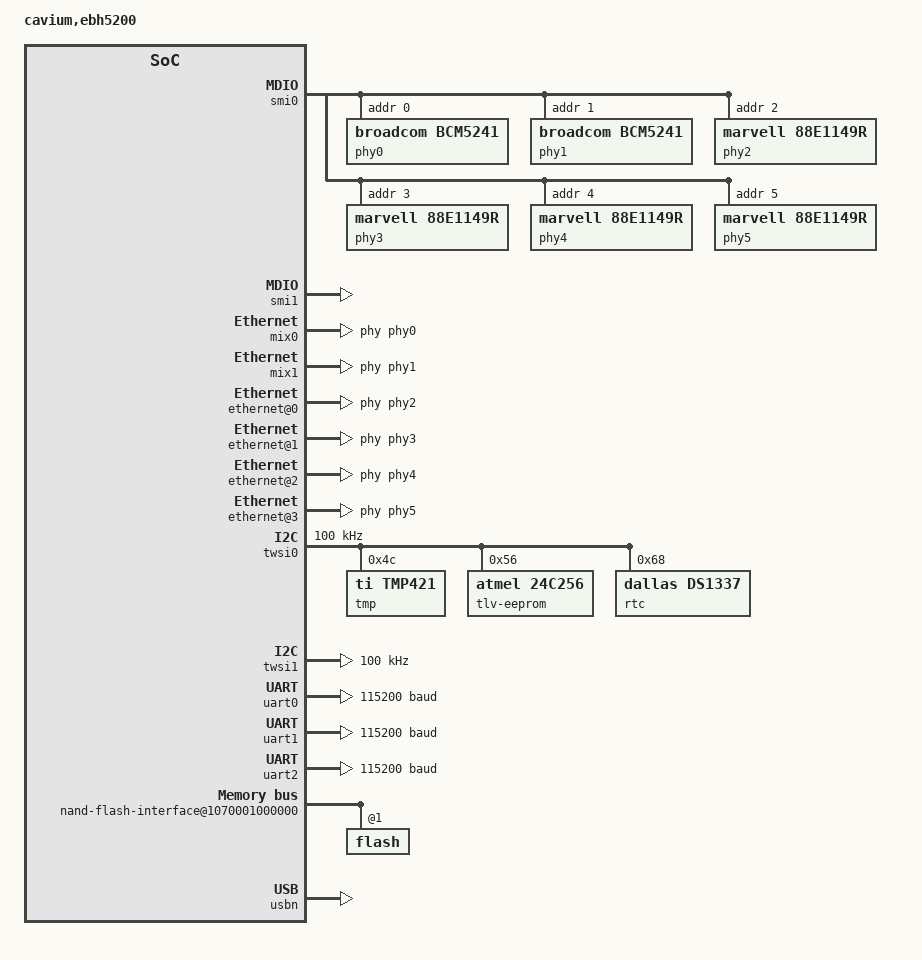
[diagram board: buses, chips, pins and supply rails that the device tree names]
/dts-v1/;
/*
 * Cavium Inc. EBH5200 board
 */
/ {
	model = "cavium,ebh5200";
	compatible = "cavium,ebh5200";
	#address-cells = <2>;
	#size-cells = <2>;
	interrupt-parent = <&ciu>;

	soc@0 {
		compatible = "simple-bus";
		#address-cells = <2>;
		#size-cells = <2>;
		ranges; /* Direct mapping */

		ciu: interrupt-controller@1070000000000 {
			compatible = "cavium,octeon-3860-ciu";
			interrupt-controller;
			/* Interrupts are specified by two parts:
			 * 1) Controller register (0 or 1)
			 * 2) Bit within the register (0..63)
			 */
			#interrupt-cells = <2>;
			reg = <0x10700 0x00000000 0x0 0x7000>;
		};

		gpio: gpio-controller@1070000000800 {
			#gpio-cells = <2>;
			compatible = "cavium,octeon-3860-gpio";
			reg = <0x10700 0x00000800 0x0 0x100>;
			gpio-controller;
			/* Interrupts are specified by two parts:
			 * 1) GPIO pin number (0..15)
			 * 2) Triggering (1 - edge rising
			 *		  2 - edge falling
			 *		  4 - level active high
			 *		  8 - level active low)
			 */
			interrupt-controller;
			#interrupt-cells = <2>;
			/* The GPIO pins connect to 16 consecutive CUI bits */
			interrupts = <0 16>; /* <0 17> <0 18> <0 19>
				     <0 20> <0 21> <0 22> <0 23>
				     <0 24> <0 25> <0 26> <0 27>
				     <0 28> <0 29> <0 30> <0 31>; */
		};

		smi0: mdio@1180000001800 {
			compatible = "cavium,octeon-3860-mdio";
			#address-cells = <1>;
			#size-cells = <0>;
			reg = <0x11800 0x00001800 0x0 0x40>;

			phy0: ethernet-phy@0 {
				compatible = "broadcom,bcm5241";
				reg = <0>;
			};

			phy1: ethernet-phy@1 {
				compatible = "broadcom,bcm5241";
				reg = <1>;
			};

			phy2: ethernet-phy@2 {
				reg = <2>;
				compatible = "marvell,88e1149r";
				marvell,reg-init = <3 0x10 0 0x5777>,
					<3 0x11 0 0x00aa>,
					<3 0x12 0 0x4105>,
					<3 0x13 0 0x0a60>;
			};
			phy3: ethernet-phy@3 {
				reg = <3>;
				compatible = "marvell,88e1149r";
				marvell,reg-init = <3 0x10 0 0x5777>,
					<3 0x11 0 0x00aa>,
					<3 0x12 0 0x4105>,
					<3 0x13 0 0x0a60>;
			};
			phy4: ethernet-phy@4 {
				reg = <4>;
				compatible = "marvell,88e1149r";
				marvell,reg-init = <3 0x10 0 0x5777>,
					<3 0x11 0 0x00aa>,
					<3 0x12 0 0x4105>,
					<3 0x13 0 0x0a60>;
			};
			phy5: ethernet-phy@5 {
				reg = <5>;
				compatible = "marvell,88e1149r";
				marvell,reg-init = <3 0x10 0 0x5777>,
					<3 0x11 0 0x00aa>,
					<3 0x12 0 0x4105>,
					<3 0x13 0 0x0a60>;
			};
		};

		smi1: mdio@1180000001900 {
			compatible = "cavium,octeon-3860-mdio";
			#address-cells = <1>;
			#size-cells = <0>;
			reg = <0x11800 0x00001900 0x0 0x40>;
		};

		mix0: ethernet@1070000100000 {
			compatible = "cavium,octeon-5750-mix";
			reg = <0x10700 0x00100000 0x0 0x100>, /* MIX */
			      <0x11800 0xE0000000 0x0 0x300>, /* AGL */
			      <0x11800 0xE0000400 0x0 0x400>, /* AGL_SHARED  */
			      <0x11800 0xE0002000 0x0 0x8>;   /* AGL_PRT_CTL */
			cell-index = <0>;
			interrupts = <0 62>, <1 46>;
			local-mac-address = [ 00 00 00 00 00 00 ];
			phy-handle = <&phy0>;
		};

		mix1: ethernet@1070000100800 {
			compatible = "cavium,octeon-5750-mix";
			reg = <0x10700 0x00100800 0x0 0x100>, /* MIX */
			      <0x11800 0xE0000800 0x0 0x300>, /* AGL */
			      <0x11800 0xE0000400 0x0 0x400>, /* AGL_SHARED  */
			      <0x11800 0xE0002008 0x0 0x8>;   /* AGL_PRT_CTL */
			cell-index = <1>;
			interrupts = <1 18>, <1 46>;
			local-mac-address = [ 00 00 00 00 00 00 ];
			phy-handle = <&phy1>;
		};

		pip: pip@11800a0000000 {
			compatible = "cavium,octeon-3860-pip";
			#address-cells = <1>;
			#size-cells = <0>;
			reg = <0x11800 0xa0000000 0x0 0x2000>;

			interface@0 {
				compatible = "cavium,octeon-3860-pip-interface";
				#address-cells = <1>;
				#size-cells = <0>;
				reg = <0>; /* interface */

				ethernet@0 {
					compatible = "cavium,octeon-3860-pip-port";
					reg = <0x0>; /* Port */
					local-mac-address = [ 00 00 00 00 00 00 ];
					phy-handle = <&phy2>;
				};
				ethernet@1 {
					compatible = "cavium,octeon-3860-pip-port";
					reg = <0x1>; /* Port */
					local-mac-address = [ 00 00 00 00 00 00 ];
					phy-handle = <&phy3>;
				};
				ethernet@2 {
					compatible = "cavium,octeon-3860-pip-port";
					reg = <0x2>; /* Port */
					local-mac-address = [ 00 00 00 00 00 00 ];
					phy-handle = <&phy4>;
				};
				ethernet@3 {
					compatible = "cavium,octeon-3860-pip-port";
					reg = <0x3>; /* Port */
					local-mac-address = [ 00 00 00 00 00 00 ];
					phy-handle = <&phy5>;
				};
			};
		};

		twsi0: i2c@1180000001000 {
			#address-cells = <1>;
			#size-cells = <0>;
			compatible = "cavium,octeon-3860-twsi";
			reg = <0x11800 0x00001000 0x0 0x200>;
			interrupts = <0 45>;
			clock-frequency = <100000>;

			tmp@4c {
				compatible = "ti,tmp421";
				reg = <0x4c>;
			};
			tlv-eeprom@56 {
				compatible = "atmel,24c256","microchip,24lc256";
				reg = <0x56>;
				pagesize = <64>;
			};
			rtc@68 {
				compatible = "dallas,ds1337";
				reg = <0x68>;
			};
		};

		twsi1: i2c@1180000001200 {
			#address-cells = <1>;
			#size-cells = <0>;
			compatible = "cavium,octeon-3860-twsi";
			reg = <0x11800 0x00001200 0x0 0x200>;
			interrupts = <0 59>;
			clock-frequency = <100000>;
		};

		uart0: serial@1180000000800 {
			compatible = "cavium,octeon-3860-uart","ns16550";
			reg = <0x11800 0x00000800 0x0 0x400>;
			clock-frequency = <0>;
			current-speed = <115200>;
			reg-shift = <3>;
			interrupts = <0 34>;
		};

		uart1: serial@1180000000c00 {
			compatible = "cavium,octeon-3860-uart","ns16550";
			reg = <0x11800 0x00000c00 0x0 0x400>;
			clock-frequency = <0>;
			current-speed = <115200>;
			reg-shift = <3>;
			interrupts = <0 35>;
		};

		uart2: serial@1180000000400 {
			compatible = "cavium,octeon-3860-uart","ns16550";
			reg = <0x11800 0x00000400 0x0 0x400>;
			clock-frequency = <0>;
			current-speed = <115200>;
			reg-shift = <3>;
			interrupts = <1 16>;
		};

		bootbus: bootbus@1180000000000 {
			compatible = "cavium,octeon-3860-bootbus";
			reg = <0x11800 0x00000000 0x0 0x200>;
			/* The chip select number and offset */
			#address-cells = <2>;
			/* The size of the chip select region */
			#size-cells = <1>;
			ranges = <0 0  0x0     0x1f400000  0x00c00000>,
				 <1 0  0x10000 0x30000000  0>,
				 <2 0  0x10000 0x40000000  0>,
				 <3 0  0x10000 0x50000000  0>,
				 <4 0  0x0     0x1d020000  0x00010000>,
				 <5 0  0x0     0x1d040000  0x00010000>,
				 <6 0  0x0     0x1d050000  0x00010000>,
				 <7 0  0x0     0x1d030000  0x00010000>;

			cavium,cs-config@0 {
				compatible = "cavium,octeon-3860-bootbus-config";
				cavium,cs-index = <0>;
				cavium,t-adr  = <10>;
				cavium,t-ce   = <50>;
				cavium,t-oe   = <50>;
				cavium,t-we   = <35>;
				cavium,t-rd-hld = <25>;
				cavium,t-wr-hld = <35>;
				cavium,t-pause  = <0>;
				cavium,t-wait   = <300>;
				cavium,t-page   = <25>;
				cavium,t-rd-dly = <0>;

				cavium,pages     = <0>;
				cavium,bus-width = <8>;
			};
			cavium,cs-config@4 {
				compatible = "cavium,octeon-3860-bootbus-config";
				cavium,cs-index = <4>;
				cavium,t-adr  = <300>;
				cavium,t-ce   = <300>;
				cavium,t-oe   = <300>;
				cavium,t-we   = <300>;
				cavium,t-rd-hld = <300>;
				cavium,t-wr-hld = <300>;
				cavium,t-pause  = <300>;
				cavium,t-wait   = <300>;
				cavium,t-page   = <300>;
				cavium,t-rd-dly = <0>;

				cavium,pages     = <0>;
				cavium,bus-width = <8>;
			};
			cavium,cs-config@5 {
				compatible = "cavium,octeon-3860-bootbus-config";
				cavium,cs-index = <5>;
				cavium,t-adr  = <0>;
				cavium,t-ce   = <300>;
				cavium,t-oe   = <125>;
				cavium,t-we   = <150>;
				cavium,t-rd-hld = <100>;
				cavium,t-wr-hld = <300>;
				cavium,t-pause  = <0>;
				cavium,t-wait   = <300>;
				cavium,t-page   = <300>;
				cavium,t-rd-dly = <0>;

				cavium,pages     = <0>;
				cavium,bus-width = <16>;
			};
			cavium,cs-config@6 {
				compatible = "cavium,octeon-3860-bootbus-config";
				cavium,cs-index = <6>;
				cavium,t-adr  = <0>;
				cavium,t-ce   = <30>;
				cavium,t-oe   = <125>;
				cavium,t-we   = <150>;
				cavium,t-rd-hld = <100>;
				cavium,t-wr-hld = <30>;
				cavium,t-pause  = <0>;
				cavium,t-wait   = <30>;
				cavium,t-page   = <300>;
				cavium,t-rd-dly = <0>;

				cavium,pages     = <0>;
				cavium,wait-mode;
				cavium,bus-width = <16>;
			};
			cavium,cs-config@7 {
				compatible = "cavium,octeon-3860-bootbus-config";
				cavium,cs-index = <7>;
				cavium,t-adr  = <300>;
				cavium,t-ce   = <300>;
				cavium,t-oe   = <300>;
				cavium,t-we   = <300>;
				cavium,t-rd-hld = <300>;
				cavium,t-wr-hld = <300>;
				cavium,t-pause  = <300>;
				cavium,t-wait   = <300>;
				cavium,t-page   = <300>;
				cavium,t-rd-dly = <0>;

				cavium,pages     = <0>;
				cavium,bus-width = <8>;
			};

			flash0: nor@0,0 {
				compatible = "cfi-flash";
				reg = <0 0 0x800000>;
				#address-cells = <1>;
				#size-cells = <1>;

				partition@0 {
					label = "bootloader";
					reg = <0x0 0x200000>;
					read-only;
				};
				partition@200000 {
					label = "kernel";
					reg = <0x200000 0x200000>;
				};
				partition@400000 {
					label = "cramfs";
					reg = <0x400000 0x3e0000>;
				};
				partition@7e0000 {
					label = "environment";
					reg = <0x7e0000 0x20000>;
					read-only;
				};
			};

			led-display@4,0 {
				compatible = "avago,hdsp-253x";
				reg = <4 0x20 0x20>, <4 0 0x20>;
			};

			compact-flash@5,0 {
				compatible = "cavium,ebt3000-compact-flash";
				reg = <5 0 0x10000>, <6 0 0x10000>;
				cavium,bus-width = <16>;
				cavium,true-ide;
				cavium,dma-engine-handle = <&dma0>;
			};

			pal@7,0 {
				compatible = "cavium,ebt3000-pal", "cavium,ebh5200-pal";
				reg = <7 0x20 0x20>, <7 0 0x20>;
			};
		};
		dma0: dma-engine@1180000000100 {
			compatible = "cavium,octeon-5750-bootbus-dma";
			reg = <0x11800 0x00000100 0x0 0x8>;
			interrupts = <0 63>;
		};
		dma1: dma-engine@1180000000108 {
			compatible = "cavium,octeon-5750-bootbus-dma";
			reg = <0x11800 0x00000108 0x0 0x8>;
			interrupts = <0 63>;
		};
		nand-flash-interface@1070001000000 {
			compatible = "cavium,octeon-5230-nand";
			reg = <0x10700 0x01000000 0 0x100>,
				<0x11800 0x00000168 0x0 0x20>;
			#address-cells = <1>;
			#size-cells = <0>;
			interrupts = <0 63>;
			flash@1 {
				compatibe = "nand-flash";
				reg = <1>;

				/* soft is used to support single bit ECC */
				nand-ecc-mode = "soft";

				/* Number of bytes of data to perform ECC over */
				nand-ecc-size = <512>;

				/* nand-ecc-size and nand-ecc-bytes are
				 * calculated based on the error management
				 * requirements of the NAND device.
				 *
				 * For example, if a device says it requires
				 * 12 bits of ECC per 540 bytes then
				 * nand-ecc-size would be set to 512.
				 *
				 * nand-ecc-bytes is calculated based on the
				 * requirements for the Galios field order.
				 * There are two variables involved, m and t.
				 *
				 * m must be chosen such that:
				 *      (2^m) - 1 > (nand-ecc-size * 8)
				 * In the case of 512, m=13 since
				 * nand-ecc-size * 8 = 2^12.
				 *
				 * We need 12 bits of ecc per 512 bytes so t=12.
				 *
				 * nand-ecc-bytes = (m*t) / 8 rounded up so
				 * 19.5 = 20 bytes of ECC per 512 bytes.
				 *
				 * For 24 bits of ECC per 1024 bytes of data
				 * this works out to 42.  For 4 bits of ECC
				 * per 512 bytes this should be 7.
				 *
				 * If nand-ecc-size and nand-ecc-bytes are not
				 * specified then the default values of 512 and
				 * 7 will be used respectively, providing 4 bits
				 * of ecc per 512 bytes of data.
				 *
				 * Note that for booting purposes, OCTEON only
				 * supports 1 bit of ECC per 256 bytes which
				 * means that NAND devices requiring the
				 * extended ECC support cannot be used for
				 * booting purposes.\
				 */
				nand-ecc-bytes = <7>;

				/* Width of NAND on bus, OCTEON supports both 8
				 * and 16-bits.
				 */
				nand-bus-width = <8>;
			};
		};
		usbn: usbn@1180068000000 {
			compatible = "cavium,octeon-5750-usbn";
			#address-cells = <2>;
			#size-cells = <2>;
			reg = <0x11800 0x68000000 0x0 0x1000>;
			ranges; /* Direct mapping */
			/* 12MHz, 24MHz and 48MHz allowed */
			refclk-frequency = <48000000>;
			/* Either "crystal" or "external" */
			refclk-type = "external";

			usbc@16f0010000000 {
				compatible = "cavium,octeon-5750-usbc";
				reg = <0x16f00 0x10000000 0x0 0x50000>;
			};
		};
	};

	aliases {
		mix0 = &mix0;
		mix1 = &mix1;
		pip = &pip;
		smi0 = &smi0;
		smi1 = &smi1;
		twsi0 = &twsi0;
		twsi1 = &twsi1;
		uart0 = &uart0;
		uart1 = &uart1;
		uart2 = &uart2;
		flash0 = &flash0;
	};
 };
